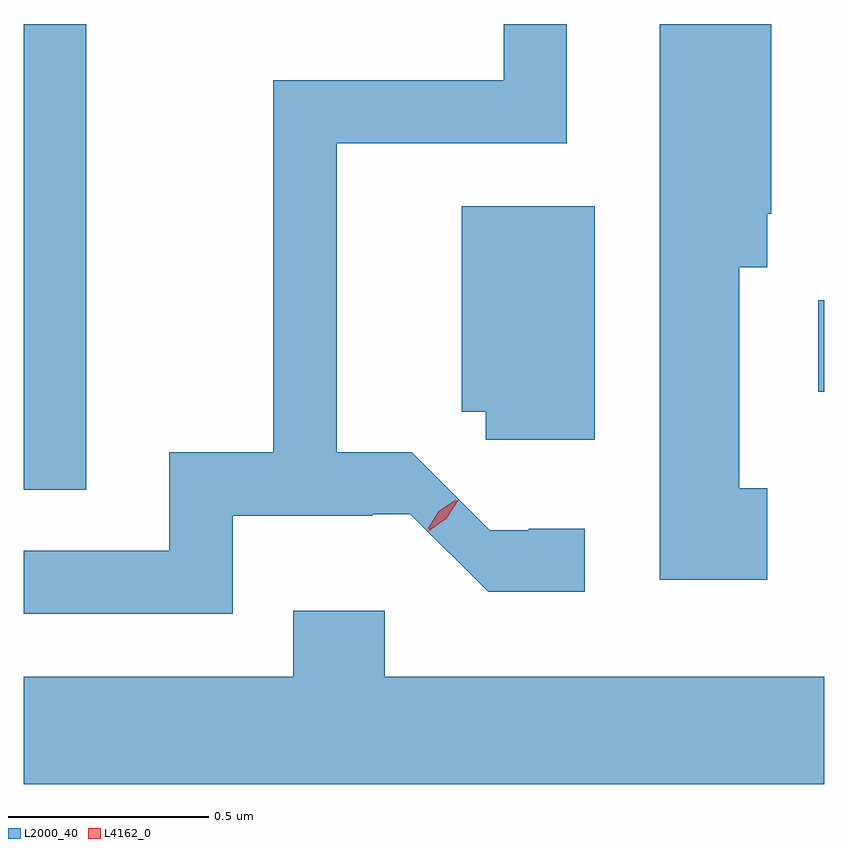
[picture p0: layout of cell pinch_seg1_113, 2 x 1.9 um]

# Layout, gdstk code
import gdstk
lib = gdstk.Library(unit=1e-6, precision=1e-09)
def R(c, l, rs):  # rectangles x0, y0, x1, y1
    for r in rs: c.add(gdstk.rectangle(r[:2], r[2:], *l))
def P(c, l, *ps):  # polygons
    for p in ps: c.add(gdstk.Polygon(p, *l))
L2000_40 = (2000, 40)
L4162_0 = (4162, 0)

pinch_seg1_113 = lib.new_cell('pinch_seg1_113')
R(pinch_seg1_113, L2000_40, [(192.987,864.791,193.144,865.954), (194.971,865.036,194.987,865.264)])
P(pinch_seg1_113, L2000_40, [(194.844,864.794),(194.774,864.794),(194.774,865.346),(194.844,865.346),(194.844,865.48),(194.854,865.48),(194.854,865.954),(194.576,865.954),(194.576,864.566),(194.844,864.566)],
  [(193.509,864.726),(193.858,864.726),(193.858,864.73),(193.953,864.73),(194.147,864.536),(194.388,864.536),(194.388,864.694),(194.248,864.694),(194.248,864.69),(194.151,864.69),(193.957,864.884),(193.769,864.884),(193.769,865.656),(194.344,865.656),(194.344,865.954),(194.186,865.954),(194.186,865.814),(193.611,865.814),(193.611,864.884),(193.351,864.884),(193.351,864.639),(192.987,864.639),(192.987,864.481),(193.509,864.481)],
  [(194.414,865.499),(194.081,865.499),(194.081,864.986),(194.141,864.986),(194.141,864.916),(194.414,864.916)],
  [(194.987,864.324),(193.889,864.324),(193.889,864.489),(193.661,864.489),(193.661,864.324),(192.987,864.324),(192.987,864.056),(194.987,864.056)])
P(pinch_seg1_113, L4162_0, [(193.996,864.694),(193.996,864.694),(194.024,864.737),(194.066,864.766),(194.066,864.766),(194.066,864.766),(194.039,864.723),(193.997,864.694)],
  [(193.997,864.687),(193.997,864.687),(194.028,864.734),(194.072,864.766),(194.073,864.766),(194.073,864.765),(194.042,864.719),(193.998,864.687)])

lib.write_gds('pinch_seg1_113.gds')
